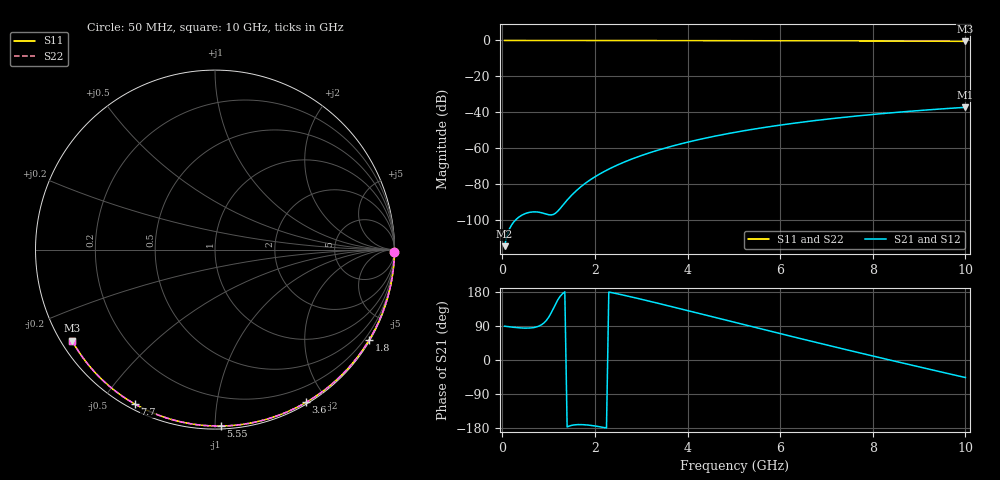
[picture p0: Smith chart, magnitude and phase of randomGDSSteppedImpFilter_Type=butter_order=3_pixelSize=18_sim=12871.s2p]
! freq	dB(S11)	phase(S11)	dB(S12)	phase(S12)
!  dB(S21)	phase(S21)	dB(S22)	phase(S22)
!S-par simulation data
#  GHz  S  DB  R 50
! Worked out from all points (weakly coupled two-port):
!   200 points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, 50 MHz to 10 GHz, reference 50 ohm
!   highest |S21| = -37.33 dB at 10 GHz (marker M1); lowest = -114.8 dB at 50 MHz (marker M2)
!   lowest |S11| = -0.5 dB at 10 GHz (marker M3), VSWR 34.95, Z = 1.55 - j14.6 ohm
!   |S11| at or under -10 dB: nowhere
!   |S22| runs from -0.5 to 0.0 dB; largest |S21 - S12| = 0
!   S11 on the Smith chart (normalised r, x): 50 MHz: open; 1.8 GHz: 0.03, -3.68; 3.6 GHz: 0.02, -1.76; 5.55 GHz: 0.02, -1.03; 7.7 GHz: 0.02, -0.61; 10 GHz: 0.03, -0.29
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0.05  -0.00 -0.9  -114.83 89.2  -114.83 89.2  -0.00 -0.9
0.45  -0.01 -7.7  -97.15 84.3  -97.15 84.3  -0.01 -7.7
0.9  -0.02 -15.3  -96.55 97.8  -96.55 97.8  -0.02 -15.3
1.3  -0.03 -22.1  -92.20 174.9  -92.20 174.9  -0.03 -22.1
1.75  -0.04 -29.5  -80.57 -170.7  -80.57 -170.7  -0.04 -29.5
1.8  -0.04 -30.4  -79.59 -171.2  -79.59 -171.2  -0.04 -30.4
1.95  -0.04 -32.8  -76.93 -173.2  -76.93 -173.2  -0.04 -32.8
2.1  -0.04 -35.3  -74.59 -176.0  -74.59 -176.0  -0.04 -35.3
2.3  -0.05 -38.6  -71.81 179.4  -71.81 179.4  -0.05 -38.6
2.5  -0.05 -41.8  -69.37 174.3  -69.37 174.3  -0.05 -41.8
2.9  -0.06 -48.2  -65.20 163.2  -65.20 163.2  -0.06 -48.2
3.4  -0.07 -56.1  -60.94 148.6  -60.94 148.6  -0.07 -56.1
3.6  -0.08 -59.2  -59.46 142.6  -59.46 142.6  -0.08 -59.2
4.3  -0.10 -69.9  -55.00 121.3  -55.00 121.3  -0.10 -69.9
5.05  -0.12 -80.9  -51.16 98.4  -51.16 98.4  -0.12 -80.9
5.55  -0.14 -88.1  -48.99 83.2  -48.99 83.2  -0.14 -88.1
6.1  -0.17 -95.8  -46.89 66.6  -46.89 66.6  -0.17 -95.8
6.7  -0.20 -104.1  -44.88 48.7  -44.88 48.7  -0.20 -104.1
7.7  -0.27 -117.5  -42.05 19.3  -42.05 19.3  -0.27 -117.5
8.35  -0.32 -126.0  -40.49 0.5  -40.49 0.5  -0.32 -126.0
9.2  -0.41 -137.1  -38.73 -23.8  -38.73 -23.8  -0.41 -137.1
10  -0.50 -147.5  -37.33 -46.3  -37.33 -46.3  -0.50 -147.5
